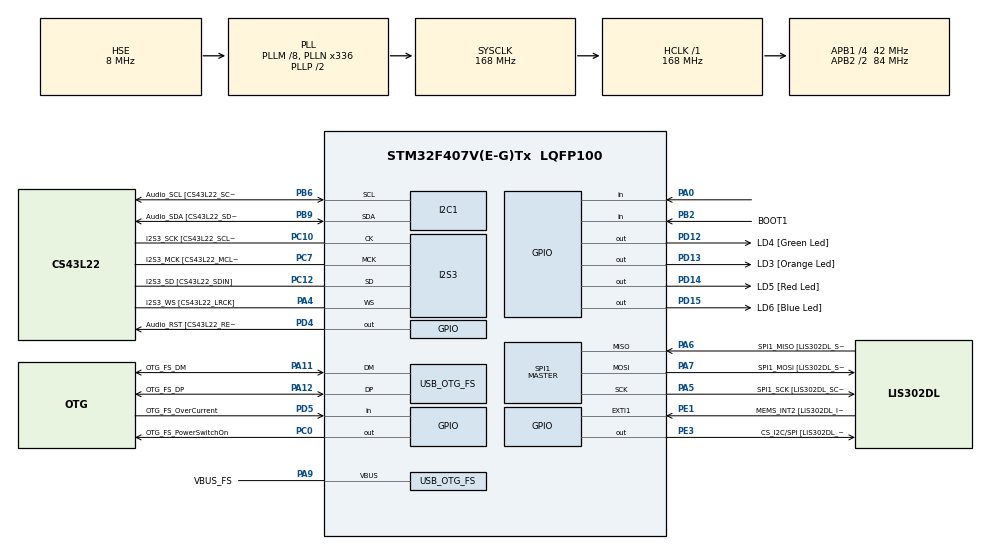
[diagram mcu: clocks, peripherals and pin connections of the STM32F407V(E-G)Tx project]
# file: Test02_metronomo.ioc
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I2S3.AudioFreq-Half_Duplex_Master=I2S_AUDIOFREQ_96K
I2S3.ErrorAudioFreq=-2.34 %
I2S3.ErrorAudioFreq-Half_Duplex_Master=0.8 %
I2S3.FullDuplexMode=I2S_FULLDUPLEXMODE_DISABLE
I2S3.Instance=SPI$Index
I2S3.RealAudioFreq=93.75 KHz
I2S3.RealAudioFreq-Half_Duplex_Master=96.774 KHz
I2S3.VirtualMode=I2S_MODE_MASTER
Mcu.Family=STM32F4
Mcu.Name=STM32F407V(E-G)Tx
Mcu.Package=LQFP100
NVIC.OTG_FS_IRQn=true\:0\:0\:false\:false\:true\:true
NVIC.PriorityGroup=NVIC_PRIORITYGROUP_0
PA0-WKUP.Signal=GPIO_Input
PA10.GPIO_Label=OTG_FS_ID
PA10.GPIO_Mode=GPIO_MODE_AF_PP
PA10.GPIO_PuPd=GPIO_NOPULL
PA10.GPIO_Speed=GPIO_SPEED_FREQ_LOW
PA10.Signal=USB_OTG_FS_ID
PA11.GPIO_Label=OTG_FS_DM
PA11.GPIO_Mode=GPIO_MODE_AF_PP
PA11.GPIO_PuPd=GPIO_NOPULL
PA11.GPIO_Speed=GPIO_SPEED_FREQ_LOW
PA11.Mode=Host_Only
PA11.Signal=USB_OTG_FS_DM
PA12.GPIO_Label=OTG_FS_DP
PA12.GPIO_Mode=GPIO_MODE_AF_PP
PA12.GPIO_PuPd=GPIO_NOPULL
PA12.GPIO_Speed=GPIO_SPEED_FREQ_LOW
PA12.Mode=Host_Only
PA12.Signal=USB_OTG_FS_DP
PA13.GPIO_Label=SWDIO
PA13.Mode=Serial_Wire
PA13.Signal=SYS_JTMS-SWDIO
PA14.GPIO_Label=SWCLK
PA14.Mode=Serial_Wire
PA14.Signal=SYS_JTCK-SWCLK
PA4.GPIO_Label=I2S3_WS [CS43L22_LRCK]
PA4.GPIO_Mode=GPIO_MODE_AF_PP
PA4.GPIO_PuPd=GPIO_NOPULL
PA4.GPIO_Speed=GPIO_SPEED_FREQ_LOW
PA4.Mode=Half_Duplex_Master
PA4.Signal=I2S3_WS
PA5.GPIO_Label=SPI1_SCK [LIS302DL_SCL/SPC]
PA5.GPIO_Mode=GPIO_MODE_AF_PP
PA5.GPIO_PuPd=GPIO_NOPULL
PA5.GPIO_Speed=GPIO_SPEED_FREQ_LOW
PA5.Mode=Full_Duplex_Master
PA5.Signal=SPI1_SCK
PA6.GPIO_Label=SPI1_MISO [LIS302DL_SDO]
PA6.GPIO_Mode=GPIO_MODE_AF_PP
PA6.GPIO_PuPd=GPIO_NOPULL
PA6.GPIO_Speed=GPIO_SPEED_FREQ_LOW
PA6.Mode=Full_Duplex_Master
PA6.Signal=SPI1_MISO
PA7.GPIO_Label=SPI1_MOSI [LIS302DL_SDA/SDI/SDO]
PA7.GPIO_Mode=GPIO_MODE_AF_PP
PA7.GPIO_PuPd=GPIO_NOPULL
PA7.GPIO_Speed=GPIO_SPEED_FREQ_LOW
PA7.Mode=Full_Duplex_Master
PA7.Signal=SPI1_MOSI
PA9.GPIO_Label=VBUS_FS
PA9.GPIO_Mode=GPIO_MODE_INPUT
PA9.GPIO_PuPd=GPIO_NOPULL
PA9.Mode=Activate_VBUS
PA9.Signal=USB_OTG_FS_VBUS
PB10.GPIO_Label=CLK_IN [MP45DT02_CLK]
PB10.GPIO_Mode=GPIO_MODE_AF_PP
PB10.GPIO_PuPd=GPIO_NOPULL
PB10.GPIO_Speed=GPIO_SPEED_FREQ_LOW
PB10.Signal=I2S2_CK
PB2.GPIO_Label=BOOT1
PB2.GPIO_Mode=GPIO_MODE_INPUT
PB2.GPIO_PuPd=GPIO_NOPULL
PB2.Signal=GPIO_Input
PB3.GPIO_Label=SWO
PB3.Signal=SYS_JTDO-SWO
PB6.GPIO_Label=Audio_SCL [CS43L22_SCL]
PB6.GPIO_Mode=GPIO_MODE_AF_OD
PB6.GPIO_PuPd=GPIO_NOPULL
PB6.GPIO_Speed=GPIO_SPEED_FREQ_LOW
PB6.Mode=I2C
PB6.Signal=I2C1_SCL
PB9.GPIO_Label=Audio_SDA [CS43L22_SDA]
PB9.GPIO_Mode=GPIO_MODE_AF_OD
PB9.GPIO_PuPd=GPIO_NOPULL
PB9.GPIO_Speed=GPIO_SPEED_FREQ_LOW
PB9.Mode=I2C
PB9.Signal=I2C1_SDA
PC0.GPIO_Label=OTG_FS_PowerSwitchOn
PC0.GPIO_PuPd=GPIO_NOPULL
PC0.GPIO_Speed=GPIO_SPEED_FREQ_LOW
PC0.PinState=GPIO_PIN_SET
PC0.Signal=GPIO_Output
PC10.GPIO_Label=I2S3_SCK [CS43L22_SCLK]
PC10.GPIO_Mode=GPIO_MODE_AF_PP
PC10.GPIO_PuPd=GPIO_NOPULL
PC10.GPIO_Speed=GPIO_SPEED_FREQ_LOW
PC10.Mode=Half_Duplex_Master
PC10.Signal=I2S3_CK
PC12.GPIO_Label=I2S3_SD [CS43L22_SDIN]
PC12.GPIO_Mode=GPIO_MODE_AF_PP
PC12.GPIO_PuPd=GPIO_NOPULL
PC12.GPIO_Speed=GPIO_SPEED_FREQ_LOW
PC12.Mode=Half_Duplex_Master
PC12.Signal=I2S3_SD
PC14-OSC32_IN.GPIO_Label=PC14-OSC32_IN
PC14-OSC32_IN.Mode=LSE-External-Oscillator
PC14-OSC32_IN.Signal=RCC_OSC32_IN
PC15-OSC32_OUT.GPIO_Label=PC15-OSC32_OUT
PC15-OSC32_OUT.Mode=LSE-External-Oscillator
PC15-OSC32_OUT.Signal=RCC_OSC32_OUT
PC3.GPIO_Label=PDM_OUT [MP45DT02_DOUT]
PC3.GPIO_Mode=GPIO_MODE_AF_PP
PC3.GPIO_PuPd=GPIO_NOPULL
PC3.GPIO_Speed=GPIO_SPEED_FREQ_LOW
PC3.Signal=I2S2_SD
PC7.GPIO_Label=I2S3_MCK [CS43L22_MCLK]
PC7.GPIO_Mode=GPIO_MODE_AF_PP
PC7.GPIO_PuPd=GPIO_NOPULL
PC7.GPIO_Speed=GPIO_SPEED_FREQ_LOW
PC7.Mode=Master_Clock_Activated
PC7.Signal=I2S3_MCK
PD12.GPIO_Label=LD4 [Green Led]
PD12.GPIO_PuPd=GPIO_NOPULL
PD12.GPIO_Speed=GPIO_SPEED_FREQ_LOW
PD12.Signal=GPIO_Output
PD13.GPIO_Label=LD3 [Orange Led]
PD13.GPIO_PuPd=GPIO_NOPULL
PD13.GPIO_Speed=GPIO_SPEED_FREQ_LOW
PD13.Signal=GPIO_Output
PD14.GPIO_Label=LD5 [Red Led]
PD14.GPIO_PuPd=GPIO_NOPULL
PD14.GPIO_Speed=GPIO_SPEED_FREQ_LOW
PD14.Signal=GPIO_Output
PD15.GPIO_Label=LD6 [Blue Led]
PD15.GPIO_PuPd=GPIO_NOPULL
PD15.GPIO_Speed=GPIO_SPEED_FREQ_LOW
PD15.Signal=GPIO_Output
PD4.GPIO_Label=Audio_RST [CS43L22_RESET]
PD4.GPIO_PuPd=GPIO_NOPULL
PD4.GPIO_Speed=GPIO_SPEED_FREQ_LOW
PD4.Signal=GPIO_Output
PD5.GPIO_Label=OTG_FS_OverCurrent
PD5.GPIO_Mode=GPIO_MODE_INPUT
PD5.GPIO_PuPd=GPIO_NOPULL
PD5.Signal=GPIO_Input
PE1.GPIO_Label=MEMS_INT2 [LIS302DL_INT2]
PE1.GPIO_ModeDefaultEXTI=GPIO_MODE_EVT_RISING
PE1.GPIO_PuPd=GPIO_NOPULL
PE1.Signal=GPXTI1
PE3.GPIO_Label=CS_I2C/SPI [LIS302DL_CS_I2C/SPI]
PE3.GPIO_PuPd=GPIO_NOPULL
PE3.GPIO_Speed=GPIO_SPEED_FREQ_LOW
PE3.Signal=GPIO_Output
PH0-OSC_IN.GPIO_Label=PH0-OSC_IN
PH0-OSC_IN.Mode=HSE-External-Oscillator
PH0-OSC_IN.Signal=RCC_OSC_IN
PH1-OSC_OUT.GPIO_Label=PH1-OSC_OUT
PH1-OSC_OUT.Mode=HSE-External-Oscillator
PH1-OSC_OUT.Signal=RCC_OSC_OUT
ProjectManager.HeapSize=0x200
ProjectManager.StackSize=0x400
ProjectManager.TargetToolchain=SW4STM32
RCC.48MHZClocksFreq_Value=48000000
RCC.AHBFreq_Value=168000000
RCC.APB1CLKDivider=RCC_HCLK_DIV4
RCC.APB1Freq_Value=42000000
RCC.APB1TimFreq_Value=84000000
RCC.APB2CLKDivider=RCC_HCLK_DIV2
RCC.APB2Freq_Value=84000000
RCC.APB2TimFreq_Value=168000000
RCC.CortexFreq_Value=168000000
RCC.HCLKFreq_Value=168000000
RCC.HSE_VALUE=8000000
RCC.HSI_VALUE=16000000
RCC.PLLM=8
RCC.PLLN=336
RCC.PLLQ=7
RCC.SYSCLKFreq_VALUE=168000000
RCC.SYSCLKSource=RCC_SYSCLKSOURCE_PLLCLK
RCC.VCOOutputFreq_Value=336000000
SPI1.BaudRatePrescaler-Full_Duplex_Master=SPI_BAUDRATEPRESCALER_2
SPI1.CalculateBaudRate-Full_Duplex_Master=42.0 MBits/s
SPI1.Direction=SPI_DIRECTION_2LINES
SPI1.Mode=SPI_MODE_MASTER
SPI1.Mode-Full_Duplex_Master=SPI_MODE_MASTER
SPI1.VirtualType=VM_MASTER
USB_HOST.BSP.number=1
USB_HOST.USBH_HandleTypeDef-CDC_FS=hUsbHostFS
USB_HOST.VirtualModeFS=Cdc
USB_HOST0.BSP.STBoard=false
USB_HOST0.BSP.api=UnknownBspDriver
USB_HOST0.BSP.i2caddr=0
USB_HOST0.BSP.i2creg=0
USB_HOST0.BSP.instance=PC0
USB_HOST0.BSP.ip=GPIO
USB_HOST0.BSP.mode=Output
USB_HOST0.BSP.name=Drive_VBUS_FS
USB_HOST0.BSP.solution=PC0
USB_OTG_FS.VirtualMode=Host_Only
USB_OTG_FS.phy_itface=HCD_PHY_EMBEDDED
VP_USB_HOST_VS_USB_HOST_CDC_FS.Mode=CDC_FS
board=STM32F4DISCOVERY

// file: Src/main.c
/**
  ******************************************************************************
  * @file           : main.c
  * @brief          : Main program body
  ******************************************************************************
  * This notice applies to any and all portions of this file
  * that are not between comment pairs USER CODE BEGIN and
  * USER CODE END. Other portions of this file, whether
  * inserted by the user or by software development tools
  * are owned by their respective copyright owners.
  *
  * Copyright (c) 2018 STMicroelectronics International N.V.
  * All rights reserved.
  *
  * Redistribution and use in source and binary forms, with or without
  * modification, are permitted, provided that the following conditions are met:
  *
  * 1. Redistribution of source code must retain the above copyright notice,
  *    this list of conditions and the following disclaimer.
  * 2. Redistributions in binary form must reproduce the above copyright notice,
  *    this list of conditions and the following disclaimer in the documentation
  *    and/or other materials provided with the distribution.
  * 3. Neither the name of STMicroelectronics nor the names of other
  *    contributors to this software may be used to endorse or promote products
  *    derived from this software without specific written permission.
  * 4. This software, including modifications and/or derivative works of this
  *    software, must execute solely and exclusively on microcontroller or
  *    microprocessor devices manufactured by or for STMicroelectronics.
  * 5. Redistribution and use of this software other than as permitted under
  *    this license is void and will automatically terminate your rights under
  *    this license.
  *
  * THIS SOFTWARE IS PROVIDED BY STMICROELECTRONICS AND CONTRIBUTORS "AS IS"
  * AND ANY EXPRESS, IMPLIED OR STATUTORY WARRANTIES, INCLUDING, BUT NOT
  * LIMITED TO, THE IMPLIED WARRANTIES OF MERCHANTABILITY, FITNESS FOR A
  * PARTICULAR PURPOSE AND NON-INFRINGEMENT OF THIRD PARTY INTELLECTUAL PROPERTY
  * RIGHTS ARE DISCLAIMED TO THE FULLEST EXTENT PERMITTED BY LAW. IN NO EVENT
  * SHALL STMICROELECTRONICS OR CONTRIBUTORS BE LIABLE FOR ANY DIRECT, INDIRECT,
  * INCIDENTAL, SPECIAL, EXEMPLARY, OR CONSEQUENTIAL DAMAGES (INCLUDING, BUT NOT
  * LIMITED TO, PROCUREMENT OF SUBSTITUTE GOODS OR SERVICES; LOSS OF USE, DATA,
  * OR PROFITS; OR BUSINESS INTERRUPTION) HOWEVER CAUSED AND ON ANY THEORY OF
  * LIABILITY, WHETHER IN CONTRACT, STRICT LIABILITY, OR TORT (INCLUDING
  * NEGLIGENCE OR OTHERWISE) ARISING IN ANY WAY OUT OF THE USE OF THIS SOFTWARE,
  * EVEN IF ADVISED OF THE POSSIBILITY OF SUCH DAMAGE.
  *
  ******************************************************************************
  */
#include "main.h"
#include "stm32f4xx_hal.h"
#include "i2c.h"
#include "i2s.h"
#include "spi.h"
#include "usb_host.h"
#include "gpio.h"

/* USER CODE BEGIN PV */
/* Private variables ---------------------------------------------------------*/

/* USER CODE END PV */

void SystemClock_Config(void);
void MX_USB_HOST_Process(void);

/* USER CODE BEGIN PFP */
/* Private function prototypes -----------------------------------------------*/

/* USER CODE END PFP */

/* USER CODE BEGIN 0 */
void metronomo(float t)
{
	/*HAL_GPIO_WritePin(GPIOD, GPIO_PIN_13, 1);
	HAL_Delay(t/2);
	HAL_GPIO_WritePin(GPIOD, GPIO_PIN_13, 0);
	HAL_Delay(t/2);*/

	HAL_GPIO_TogglePin(GPIOD, GPIO_PIN_13); //Cambia el led naranja de encendido
	                                        // a apagado o viceversa.
	HAL_Delay(t/2);

}

/* USER CODE END 0 */

int main(void)
{
  /* USER CODE BEGIN 1 */
  float t = 2000;
  int active = 0;
  int button;
  /* USER CODE END 1 */

  /* MCU Configuration----------------------------------------------------------*/

  /* Reset of all peripherals, Initializes the Flash interface and the Systick. */
  HAL_Init();

  /* Configure the system clock */
  SystemClock_Config();

  /* Initialize all configured peripherals */
  MX_GPIO_Init();
  MX_I2C1_Init();
  MX_I2S3_Init();
  MX_SPI1_Init();
  MX_USB_HOST_Init();
  /* USER CODE BEGIN 2 */
  HAL_GPIO_WritePin(GPIOD, GPIO_PIN_12, 1);
  /* USER CODE END 2 */

  /* Infinite loop */
  while (1)
  {
    MX_USB_HOST_Process();
    button = HAL_GPIO_ReadPin(GPIOA, GPIO_PIN_0); /*El botón azul está conectado
    al pin del micro PA0. */
  /* USER CODE BEGIN 3 */
    if(button){ /* NOTA: Es igual que escribir if(button == 1) */

    	active = 1;
    	t = t/2; //Reducimos el tiempo de parpadeo a la mitad.
        //Las dos siguientes intrucciones son de "antirrebote".
    	/*
    	 * EFECTO REBOTE:
    	 *
    	 * Cuando se pulsa un botón con la intención de obtener un 1 en un pin,
    	 * es muy frecuente que el botón rebote varias veces obteniendose unos
    	 * y ceros sucesivos.
    	 *
    	 * Para evitar ésto, una vez que se ha pulsado el botón y se registra
    	 * mediante active = 1, se introduce un retardo para que los rebotes
    	 * no tengan efecto.
    	 *
    	 * Además, para prever el caso en que el usuario mantenga más tiempo
    	 * que el retardo el botón pulsado (pudiendose aún producirse rebotes),
    	 * se introduce un ciclo while.
    	 * Dicho ciclo while mantendrá la ejecución secuencial del programa
    	 * interrumpida mientras se detecte un uno en la entrada del botón.
    	 *
    	 */
    	HAL_Delay(500); //Retardo de medio segundo.
    	while(HAL_GPIO_ReadPin(GPIOA, GPIO_PIN_0));

    }
    if(active){ /* NOTA: Es igual que escribir if(active == 1) */

    	//Si se pulsó el botón, active = 1 y se llama a la función metronomo().
    	metronomo(t); /* La función metronomo es la que hace parpadear
    	el led naranja, t/2 encendido, t/2 apagado, t/2 encendido, t/2 apagado...*/

    }

    if(t < 500){ /*Cada tres pulsaciones del botón (t = 2000, t = 1000, t = 500)
    	         el sistema se reinicia*/

    	t = 2000;
    	active = 0;
    	HAL_GPIO_WritePin(GPIOD, GPIO_PIN_13, 0);//Apagamos el led naranja.

    }

  }
  /* USER CODE END 3 */

}

void SystemClock_Config(void)
{

  RCC_OscInitTypeDef RCC_OscInitStruct;
  RCC_ClkInitTypeDef RCC_ClkInitStruct;
  RCC_PeriphCLKInitTypeDef PeriphClkInitStruct;

    /**Configure the main internal regulator output voltage
    */
  __HAL_RCC_PWR_CLK_ENABLE();

  __HAL_PWR_VOLTAGESCALING_CONFIG(PWR_REGULATOR_VOLTAGE_SCALE1);

    /**Initializes the CPU, AHB and APB busses clocks
    */
  RCC_OscInitStruct.OscillatorType = RCC_OSCILLATORTYPE_HSE;
  RCC_OscInitStruct.HSEState = RCC_HSE_ON;
  RCC_OscInitStruct.PLL.PLLState = RCC_PLL_ON;
  RCC_OscInitStruct.PLL.PLLSource = RCC_PLLSOURCE_HSE;
  RCC_OscInitStruct.PLL.PLLM = 8;
  RCC_OscInitStruct.PLL.PLLN = 336;
  RCC_OscInitStruct.PLL.PLLP = RCC_PLLP_DIV2;
  RCC_OscInitStruct.PLL.PLLQ = 7;
  if (HAL_RCC_OscConfig(&RCC_OscInitStruct) != HAL_OK)
  {
    _Error_Handler(__FILE__, __LINE__);
  }

    /**Initializes the CPU, AHB and APB busses clocks
    */
  RCC_ClkInitStruct.ClockType = RCC_CLOCKTYPE_HCLK|RCC_CLOCKTYPE_SYSCLK
                              |RCC_CLOCKTYPE_PCLK1|RCC_CLOCKTYPE_PCLK2;
  RCC_ClkInitStruct.SYSCLKSource = RCC_SYSCLKSOURCE_PLLCLK;
  RCC_ClkInitStruct.AHBCLKDivider = RCC_SYSCLK_DIV1;
  RCC_ClkInitStruct.APB1CLKDivider = RCC_HCLK_DIV4;
  RCC_ClkInitStruct.APB2CLKDivider = RCC_HCLK_DIV2;

  if (HAL_RCC_ClockConfig(&RCC_ClkInitStruct, FLASH_LATENCY_5) != HAL_OK)
  {
    _Error_Handler(__FILE__, __LINE__);
  }

  PeriphClkInitStruct.PeriphClockSelection = RCC_PERIPHCLK_I2S;
  PeriphClkInitStruct.PLLI2S.PLLI2SN = 192;
  PeriphClkInitStruct.PLLI2S.PLLI2SR = 2;
  if (HAL_RCCEx_PeriphCLKConfig(&PeriphClkInitStruct) != HAL_OK)
  {
    _Error_Handler(__FILE__, __LINE__);
  }

    /**Configure the Systick interrupt time
    */
  HAL_SYSTICK_Config(HAL_RCC_GetHCLKFreq()/1000);

    /**Configure the Systick
    */
  HAL_SYSTICK_CLKSourceConfig(SYSTICK_CLKSOURCE_HCLK);

  /* SysTick_IRQn interrupt configuration */
  HAL_NVIC_SetPriority(SysTick_IRQn, 0, 0);
}

void _Error_Handler(char *file, int line)
{
  while(1)
  {
  }
}

/************************ (C) COPYRIGHT STMicroelectronics *****END OF FILE****/
